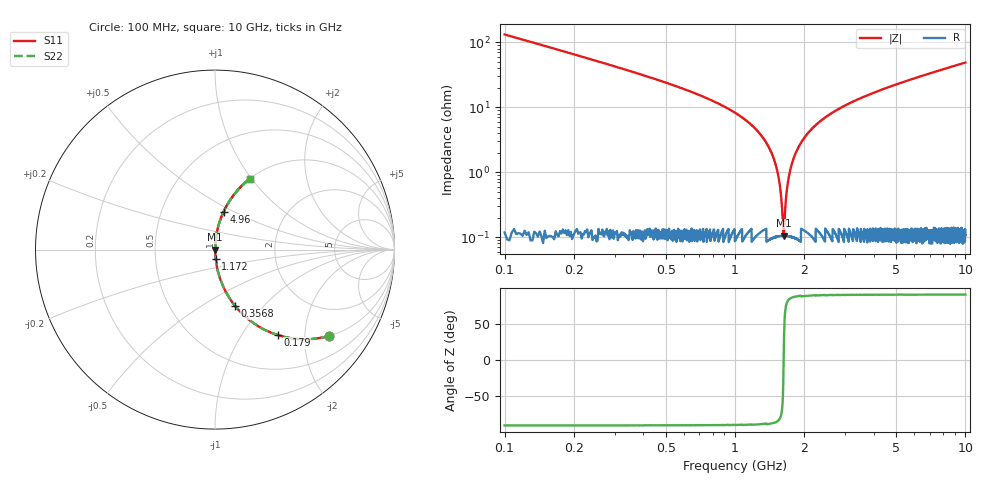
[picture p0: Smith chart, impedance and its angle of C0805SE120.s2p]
! AVX Thin Film Operation		Date: April 2012
! Description: Accu-P® Series, Thin Film, SMD, RF Capacitor
! Part Number: 08051K120FBTTR
!	100	MHz	-	10.05	GHz
!	Serial	Measurements
#	MHZ	S	MA	R	50
!	S11	S21	S12	S22
!	dB	Phase	dB	Phase	dB	Phase	dB	Phase
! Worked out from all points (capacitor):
!   4010 points, 100 MHz to 10 GHz, reference 50 ohm
!   read as one part in series: C = 12 pF near 149.4 MHz
!   lowest |Z| = 105 mohm at 1.626 GHz (marker M1)
!   series resonance near 1.626 GHz, so ESL is about 800 pH
!   S11 on the Smith chart (normalised r, x): 100 MHz: 1.00, -2.64; 179 MHz: 1.00, -1.46; 356.8 MHz: 1.00, -0.71; 1.172 GHz: 1.00, -0.11; 4.96 GHz: 1.00, +0.45; 10 GHz: 1.00, +0.98
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100  0.797 -37.1  0.603 52.9  0.603 52.9  0.797 -37.1
179.022  0.59 -53.7  0.806 36.2  0.806 36.2  0.59 -53.7
356.822  0.333 -70.4  0.942 19.5  0.942 19.5  0.333 -70.4
670.442  0.162 -80.3  0.986 9.3  0.986 9.3  0.162 -80.3
1171.739  0.054 -85.7  0.997 3.1  0.997 3.1  0.054 -85.7
1349.539  0.031 -86.2  0.998 1.8  0.998 1.8  0.031 -86.2
1465.602  0.017 -85.3  0.999 1.0  0.999 1.0  0.017 -85.3
1532.277  0.00976 -83.0  0.999 0.6  0.999 0.6  0.00976 -83.0
1594.013  0.00344 -71.2  0.999 0.2  0.999 0.2  0.00344 -71.2
1626.116  0.0011 -0.5  0.999 0.0  0.999 0.0  0.0011 -0.5
1655.75  0.00313 69.3  0.999 -0.2  0.999 -0.2  0.00313 69.3
1702.669  0.00757 81.2  0.999 -0.4  0.999 -0.4  0.00757 81.2
1752.058  0.012 84.1  0.999 -0.7  0.999 -0.7  0.012 84.1
1927.388  0.028 86.1  0.999 -1.6  0.999 -1.6  0.028 86.1
2231.13  0.052 85.8  0.998 -3.0  0.998 -3.0  0.052 85.8
2715.141  0.087 84.3  0.995 -5.0  0.995 -5.0  0.087 84.3
3401.646  0.13 82.0  0.99 -7.5  0.99 -7.5  0.13 82.0
4959.865  0.217 77.2  0.975 -12.5  0.975 -12.5  0.217 77.2
5051.235  0.221 76.9  0.974 -12.8  0.974 -12.8  0.221 76.9
6700.823  0.301 72.3  0.952 -17.5  0.952 -17.5  0.301 72.3
8350.412  0.373 67.9  0.927 -21.9  0.927 -21.9  0.373 67.9
10000  0.438 63.9  0.898 -26.0  0.898 -26.0  0.438 63.9
